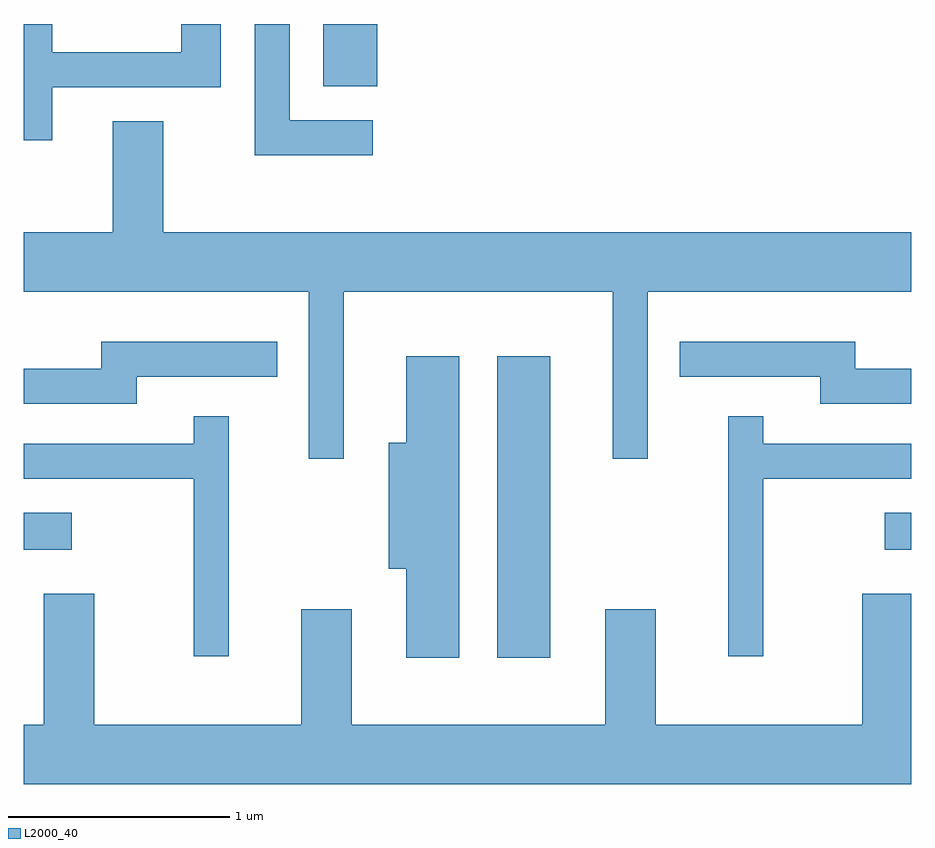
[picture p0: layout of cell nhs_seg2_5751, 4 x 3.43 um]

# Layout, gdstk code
import gdstk
lib = gdstk.Library(unit=1e-6, precision=1e-09)
def R(c, l, rs):  # rectangles x0, y0, x1, y1
    for r in rs: c.add(gdstk.rectangle(r[:2], r[2:], *l))
def P(c, l, *ps):  # polygons
    for p in ps: c.add(gdstk.Polygon(p, *l))
L2000_40 = (2000, 40)

nhs_seg2_5751 = lib.new_cell('nhs_seg2_5751')
R(nhs_seg2_5751, L2000_40, [(357.746,988.946,357.984,990.304), (355.611,989.431,355.828,989.599), (359.493,989.431,359.611,989.599), (356.961,991.521,357.204,991.802)])
P(nhs_seg2_5751, L2000_40, [(357.183,991.369),(356.809,991.369),(356.809,991.802),(356.651,991.802),(356.651,991.211),(357.183,991.211)],
  [(355.739,991.516),(356.499,991.516),(356.499,991.802),(356.321,991.802),(356.321,991.674),(355.739,991.674),(355.739,991.802),(355.611,991.802),(355.611,991.278),(355.739,991.278)],
  [(357.054,990.596),(358.266,990.596),(358.266,989.843),(358.424,989.843),(358.424,990.596),(359.611,990.596),(359.611,990.864),(356.239,990.864),(356.239,991.364),(356.011,991.364),(356.011,990.864),(355.611,990.864),(355.611,990.596),(356.896,990.596),(356.896,989.843),(357.054,989.843)],
  [(356.119,990.211),(356.753,990.211),(356.753,990.369),(355.961,990.369),(355.961,990.249),(355.611,990.249),(355.611,990.091),(356.119,990.091)],
  [(359.611,990.249),(359.359,990.249),(359.359,990.369),(358.568,990.369),(358.568,990.211),(359.201,990.211),(359.201,990.091),(359.611,990.091)],
  [(357.574,990.304),(357.336,990.304),(357.336,989.914),(357.256,989.914),(357.256,989.346),(357.336,989.346),(357.336,988.946),(357.574,988.946)],
  [(358.944,989.751),(359.611,989.751),(359.611,989.909),(358.944,989.909),(358.944,990.033),(358.786,990.033),(358.786,988.953),(358.944,988.953)],
  [(356.534,990.033),(356.376,990.033),(356.376,989.909),(355.611,989.909),(355.611,989.751),(356.376,989.751),(356.376,988.953),(356.534,988.953)],
  [(359.611,989.234),(359.391,989.234),(359.391,988.644),(358.459,988.644),(358.459,989.164),(358.231,989.164),(358.231,988.644),(357.089,988.644),(357.089,989.164),(356.861,989.164),(356.861,988.644),(355.929,988.644),(355.929,989.234),(355.701,989.234),(355.701,988.644),(355.611,988.644),(355.611,988.376),(359.611,988.376)])

lib.write_gds('nhs_seg2_5751.gds')
